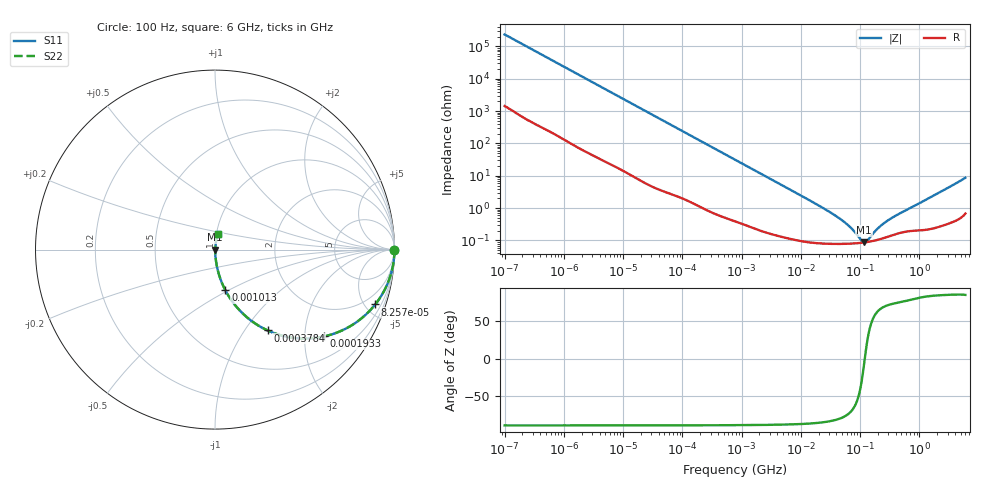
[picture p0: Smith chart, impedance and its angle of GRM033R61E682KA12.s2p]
!Murata Part Number: GRM033R61E682KA12
!These Parameters are Measured in Series Mode Connection
!Data Generated on Mar 30, 2021
!  o--ll--o
!Port1  Port2
!  o------o
!Operation Temp=25[degC], DC Bias Voltage=0[V]
!Freq. Start=100[Hz] Stop=6[GHz] 401[Steps]
# Hz S RI R 50
!Freq.(Hz) S11(Real) S11(Imag) S21(Real) S21(Imag) S12(Real) S12(Imag) S22(Real) S22(Imag)
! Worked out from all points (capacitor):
!   401 points, 100 Hz to 6 GHz, reference 50 ohm
!   read as one part in series: C = 6.77 nF near 109 Hz
!   lowest |Z| = 87.6 mohm at 116.7 MHz (marker M1)
!   series resonance near 120.2 MHz, so ESL is about 260 pH
!   S11 on the Smith chart (normalised r, x): 100 Hz: open; 82.57 kHz: 1.05, -5.82; 193.3 kHz: 1.02, -2.50; 378.4 kHz: 1.01, -1.28; 1.013 MHz: 1.01, -0.48; 6 GHz: 1.01, +0.17
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100  1 -0.000426  2.8e-06 0.000426  2.8e-06 0.000426  1 -0.000426
2008  0.9999 -0.00846  0.000118 0.00846  0.000118 0.00846  0.9999 -0.00846
12592  0.9969 -0.0525  0.00308 0.0525  0.00308 0.0525  0.9969 -0.0525
40335  0.9715 -0.1633  0.0285 0.1633  0.0285 0.1633  0.9715 -0.1633
82567  0.8926 -0.3057  0.1074 0.3057  0.1074 0.3057  0.8926 -0.3057
123542  0.7899 -0.4031  0.2101 0.4031  0.2101 0.4031  0.7899 -0.4031
193316  0.6088 -0.4835  0.3912 0.4835  0.3912 0.4835  0.6088 -0.4835
264476  0.4562 -0.4935  0.5438 0.4935  0.5438 0.4935  0.4562 -0.4935
378399  0.2929 -0.4502  0.7071 0.4502  0.7071 0.4502  0.2929 -0.4502
774597  0.0928 -0.284  0.9072 0.284  0.9072 0.284  0.0928 -0.284
1013323  0.0575 -0.2261  0.9425 0.2261  0.9425 0.2261  0.0575 -0.2261
3103719  0.00779 -0.0785  0.9922 0.0785  0.9922 0.0785  0.00779 -0.0785
1.555665e7  0.0011 -0.0157  0.9989 0.0157  0.9989 0.0157  0.0011 -0.0157
5.211241e7  0.000801 -0.00387  0.9992 0.00387  0.9992 0.00387  0.000801 -0.00387
7.455971e7  0.000809 -0.00204  0.9992 0.00204  0.9992 0.00204  0.000809 -0.00204
1.066761e8  0.000849 -0.000489  0.9992 0.000489  0.9992 0.000489  0.000849 -0.000489
1.166697e8  0.000866 -0.000121  0.9991 0.000121  0.9991 0.000121  0.000866 -0.000121
1.334425e8  0.000898 0.000427  0.9991 -0.000427  0.9991 -0.000427  0.000898 0.000427
1.996653e8  0.00106 0.00212  0.9989 -0.00212  0.9989 -0.00212  0.00106 0.00212
3.124326e8  0.00137 0.00426  0.9986 -0.00426  0.9986 -0.00426  0.00137 0.00426
1.95892e9  0.00325 0.0273  0.9967 -0.0273  0.9967 -0.0273  0.00325 0.0273
6e9  0.0141 0.0852  0.9859 -0.0852  0.9859 -0.0852  0.0141 0.0852
